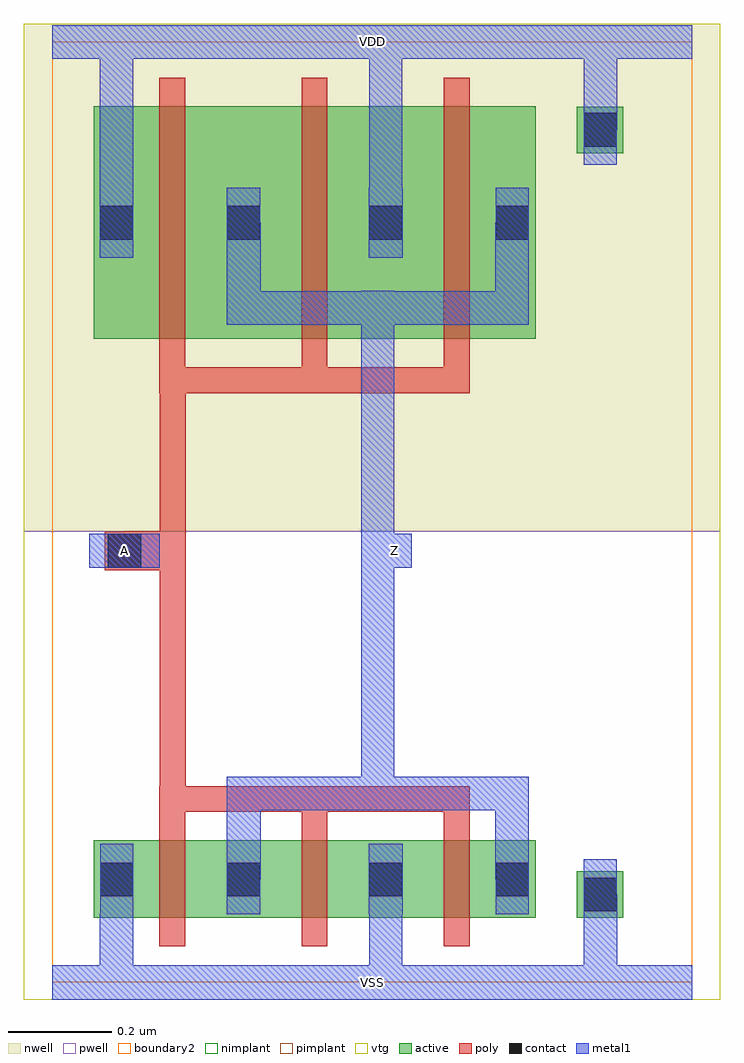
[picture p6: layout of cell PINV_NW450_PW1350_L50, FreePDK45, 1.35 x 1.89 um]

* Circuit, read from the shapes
.subckt PINV_NW450_PW1350_L50 A VDD VSS Z
M1 Z A VSS VSS nfet w=0.15u l=0.05u
M2 VSS A Z VSS nfet w=0.15u l=0.049u
M3 Z A VSS VSS nfet w=0.15u l=0.051u
M4 Z A VDD VDD pfet w=0.45u l=0.05u
M5 VDD A Z VDD pfet w=0.45u l=0.049u
M6 Z A VDD VDD pfet w=0.45u l=0.051u
.ends

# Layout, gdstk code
import gdstk
lib = gdstk.Library(unit=1e-6, precision=1e-09)
def R(c, l, rs):  # rectangles x0, y0, x1, y1
    for r in rs: c.add(gdstk.rectangle(r[:2], r[2:], *l))
active = (1, 0)
pwell = (2, 0)
nwell = (3, 0)
nimplant = (4, 0)
pimplant = (5, 0)
vtg = (6, 0)
poly = (9, 0)
contact = (10, 0)
metal1 = (11, 0)
boundary2 = (239, 0)

transmission_gate_nw250_ = lib.new_cell('TRANSMISSION_GATE_NW250_PW500_L50_contact_8')
R(transmission_gate_nw250_, active, [(0,0.022,0.09,0.112)])
R(transmission_gate_nw250_, nwell, [(-0.055,-0.033,0.145,0.168)])
R(transmission_gate_nw250_, pimplant, [(0,0.022,0.09,0.112)])
R(transmission_gate_nw250_, contact, [(0.013,0.035,0.077,0.1)])
R(transmission_gate_nw250_, metal1, [(0.013,0,0.077,0.135)])
R(transmission_gate_nw250_, boundary2, [(-0.055,-0.033,0.145,0.168)])

pinv_nw450_pw1350_l50_pm = lib.new_cell('PINV_NW450_PW1350_L50_pmos_m3_w0_450_sm1_dm1_da_p')
R(pinv_nw450_pw1350_l50_pm, active, [(0,0,0.855,0.45)])
R(pinv_nw450_pw1350_l50_pm, nwell, [(-0.08,-0.08,0.935,0.53)])
R(pinv_nw450_pw1350_l50_pm, pimplant, [(0,0,0.855,0.45)])
R(pinv_nw450_pw1350_l50_pm, vtg, [(-0.08,-0.08,0.935,0.53)])
R(pinv_nw450_pw1350_l50_pm, poly, [(0.127,-0.105,0.728,-0.055), (0.127,-0.055,0.177,0.505), (0.403,-0.055,0.452,0.505), (0.677,-0.055,0.728,0.505)])
R(pinv_nw450_pw1350_l50_pm, metal1, [(0.258,0.027,0.842,0.092), (0.258,0.06,0.323,0.225), (0.777,0.06,0.842,0.225), (0.013,0.157,0.077,0.292), (0.532,0.157,0.598,0.292)])
R(pinv_nw450_pw1350_l50_pm, boundary2, [(-0.08,-0.105,0.935,0.53)])
pinv_nw450_pw1350_l50_pm.add(gdstk.Reference(transmission_gate_nw250_, (0,0.157)))
pinv_nw450_pw1350_l50_pm.add(gdstk.Reference(transmission_gate_nw250_, (0.245,0.157)))
pinv_nw450_pw1350_l50_pm.add(gdstk.Reference(transmission_gate_nw250_, (0.52,0.157)))
pinv_nw450_pw1350_l50_pm.add(gdstk.Reference(transmission_gate_nw250_, (0.765,0.157)))
pinv_nw450_pw1350_l50_pm.add(gdstk.Label('G', (0.427,-0.08), layer=9, texttype=0))
pinv_nw450_pw1350_l50_pm.add(gdstk.Label('S', (0.045,0.225), layer=11, texttype=0))
pinv_nw450_pw1350_l50_pm.add(gdstk.Label('S', (0.565,0.225), layer=11, texttype=0))
pinv_nw450_pw1350_l50_pm.add(gdstk.Label('D', (0.55,0.06), layer=11, texttype=0))

c_transmission_gate_nw250_ = lib.new_cell('TRANSMISSION_GATE_NW250_PW500_L50_contact_7')
R(c_transmission_gate_nw250_, active, [(0,0.022,0.09,0.112)])
R(c_transmission_gate_nw250_, pwell, [(-0.055,-0.033,0.145,0.168)])
R(c_transmission_gate_nw250_, nimplant, [(0,0.022,0.09,0.112)])
R(c_transmission_gate_nw250_, contact, [(0.013,0.035,0.077,0.1)])
R(c_transmission_gate_nw250_, metal1, [(0.013,0,0.077,0.135)])
R(c_transmission_gate_nw250_, boundary2, [(-0.055,-0.033,0.145,0.168)])

pinv_nw450_pw1350_l50_nm = lib.new_cell('PINV_NW450_PW1350_L50_nmos_m3_w0_150_sm1_dm1_da_p')
R(pinv_nw450_pw1350_l50_nm, active, [(0,0,0.855,0.15)])
R(pinv_nw450_pw1350_l50_nm, pwell, [(-0.08,-0.08,0.935,0.23)])
R(pinv_nw450_pw1350_l50_nm, nimplant, [(0,0,0.855,0.15)])
R(pinv_nw450_pw1350_l50_nm, vtg, [(-0.08,-0.08,0.935,0.23)])
R(pinv_nw450_pw1350_l50_nm, poly, [(0.127,-0.055,0.177,0.205), (0.403,-0.055,0.452,0.205), (0.677,-0.055,0.728,0.205), (0.127,0.205,0.728,0.255)])
R(pinv_nw450_pw1350_l50_nm, metal1, [(0.013,0.007,0.077,0.143), (0.532,0.007,0.598,0.143), (0.258,0.075,0.323,0.24), (0.777,0.075,0.842,0.24), (0.258,0.208,0.842,0.273)])
R(pinv_nw450_pw1350_l50_nm, boundary2, [(-0.08,-0.08,0.935,0.273)])
pinv_nw450_pw1350_l50_nm.add(gdstk.Reference(c_transmission_gate_nw250_, (0,0.007)))
pinv_nw450_pw1350_l50_nm.add(gdstk.Reference(c_transmission_gate_nw250_, (0.245,0.007)))
pinv_nw450_pw1350_l50_nm.add(gdstk.Reference(c_transmission_gate_nw250_, (0.52,0.007)))
pinv_nw450_pw1350_l50_nm.add(gdstk.Reference(c_transmission_gate_nw250_, (0.765,0.007)))
pinv_nw450_pw1350_l50_nm.add(gdstk.Label('G', (0.427,0.23), layer=9, texttype=0))
pinv_nw450_pw1350_l50_nm.add(gdstk.Label('S', (0.565,0.075), layer=11, texttype=0))
pinv_nw450_pw1350_l50_nm.add(gdstk.Label('S', (0.045,0.075), layer=11, texttype=0))
pinv_nw450_pw1350_l50_nm.add(gdstk.Label('D', (0.55,0.24), layer=11, texttype=0))

c_transmission_gate_nw250__ = lib.new_cell('TRANSMISSION_GATE_NW250_PW500_L50_contact_9')
R(c_transmission_gate_nw250__, active, [(0,0.022,0.09,0.112)])
R(c_transmission_gate_nw250__, nwell, [(-0.055,-0.033,0.145,0.168)])
R(c_transmission_gate_nw250__, nimplant, [(0,0.022,0.09,0.112)])
R(c_transmission_gate_nw250__, contact, [(0.013,0.035,0.077,0.1)])
R(c_transmission_gate_nw250__, metal1, [(0.013,0,0.077,0.135)])
R(c_transmission_gate_nw250__, boundary2, [(-0.055,-0.033,0.145,0.168)])

c_transmission_gate_nw250___ = lib.new_cell('TRANSMISSION_GATE_NW250_PW500_L50_contact_10')
R(c_transmission_gate_nw250___, active, [(0,0.022,0.09,0.112)])
R(c_transmission_gate_nw250___, pwell, [(-0.055,-0.033,0.145,0.168)])
R(c_transmission_gate_nw250___, pimplant, [(0,0.022,0.09,0.112)])
R(c_transmission_gate_nw250___, contact, [(0.013,0.035,0.077,0.1)])
R(c_transmission_gate_nw250___, metal1, [(0.013,0,0.077,0.135)])
R(c_transmission_gate_nw250___, boundary2, [(-0.055,-0.033,0.145,0.168)])

pinv_nw180_pw270_l50_con = lib.new_cell('PINV_NW180_PW270_L50_contact_11')
R(pinv_nw180_pw270_l50_con, poly, [(0.03,0,0.105,0.075)])
R(pinv_nw180_pw270_l50_con, contact, [(0.035,0.005,0.1,0.07)])
R(pinv_nw180_pw270_l50_con, metal1, [(0,0.005,0.135,0.07)])
R(pinv_nw180_pw270_l50_con, boundary2, [(0,0,0.135,0.075)])

pinv_nw450_pw1350_l50_co = lib.new_cell('PINV_NW450_PW1350_L50_core')
R(pinv_nw450_pw1350_l50_co, pwell, [(-0.055,-0.033,1.292,0.873)])
R(pinv_nw450_pw1350_l50_co, nwell, [(-0.055,0.873,1.292,1.855)])
R(pinv_nw450_pw1350_l50_co, vtg, [(-0.055,-0.033,1.292,0.873), (-0.055,0.873,1.292,1.855)])
R(pinv_nw450_pw1350_l50_co, poly, [(0.208,0.38,0.258,1.14), (0.14,0.797,0.208,0.873)])
R(pinv_nw450_pw1350_l50_co, metal1, [(0,-0.033,1.238,0.033), (0.092,-0.033,0.157,0.133), (0.613,-0.033,0.677,0.133), (1.028,0,1.093,0.17), (0.598,0.333,0.662,1.338), (0.072,0.802,0.208,0.868), (0.63,0.802,0.695,0.868), (0.092,1.403,0.157,1.852), (0.613,1.403,0.677,1.852), (1.028,1.65,1.093,1.82), (0,1.787,1.238,1.852)])
R(pinv_nw450_pw1350_l50_co, boundary2, [(0,0,1.238,1.82), (0,0,1.238,1.82)])
pinv_nw450_pw1350_l50_co.add(gdstk.Reference(pinv_nw450_pw1350_l50_pm, (0.08,1.245)))
pinv_nw450_pw1350_l50_co.add(gdstk.Reference(pinv_nw450_pw1350_l50_nm, (0.08,0.125)))
pinv_nw450_pw1350_l50_co.add(gdstk.Reference(c_transmission_gate_nw250__, (1.015,1.582)))
pinv_nw450_pw1350_l50_co.add(gdstk.Reference(c_transmission_gate_nw250___, (1.015,0.103)))
pinv_nw450_pw1350_l50_co.add(gdstk.Reference(pinv_nw180_pw270_l50_con, (0.072,0.797)))
pinv_nw450_pw1350_l50_co.add(gdstk.Label('A', (0.14,0.835), layer=11, texttype=0))
pinv_nw450_pw1350_l50_co.add(gdstk.Label('Z', (0.662,0.835), layer=11, texttype=0))
pinv_nw450_pw1350_l50_co.add(gdstk.Label('gnd', (0.619,0), layer=11, texttype=0))
pinv_nw450_pw1350_l50_co.add(gdstk.Label('vdd', (0.619,1.82), layer=11, texttype=0))

pinv_nw450_pw1350_l50 = lib.new_cell('PINV_NW450_PW1350_L50')
R(pinv_nw450_pw1350_l50, metal1, [(0,-0.033,1.238,0.033), (0.072,0.802,0.208,0.868), (0.63,0.802,0.695,0.868), (0,1.787,1.238,1.852)])
R(pinv_nw450_pw1350_l50, boundary2, [(0,0,1.238,1.82)])
pinv_nw450_pw1350_l50.add(gdstk.Reference(pinv_nw450_pw1350_l50_co, (0,0)))
pinv_nw450_pw1350_l50.add(gdstk.Label('A', (0.14,0.835), layer=11, texttype=0))
pinv_nw450_pw1350_l50.add(gdstk.Label('Z', (0.662,0.835), layer=11, texttype=0))
pinv_nw450_pw1350_l50.add(gdstk.Label('VDD', (0.619,1.82), layer=11, texttype=0))
pinv_nw450_pw1350_l50.add(gdstk.Label('VSS', (0.619,0), layer=11, texttype=0))

lib.write_gds('PINV_NW450_PW1350_L50.gds')
